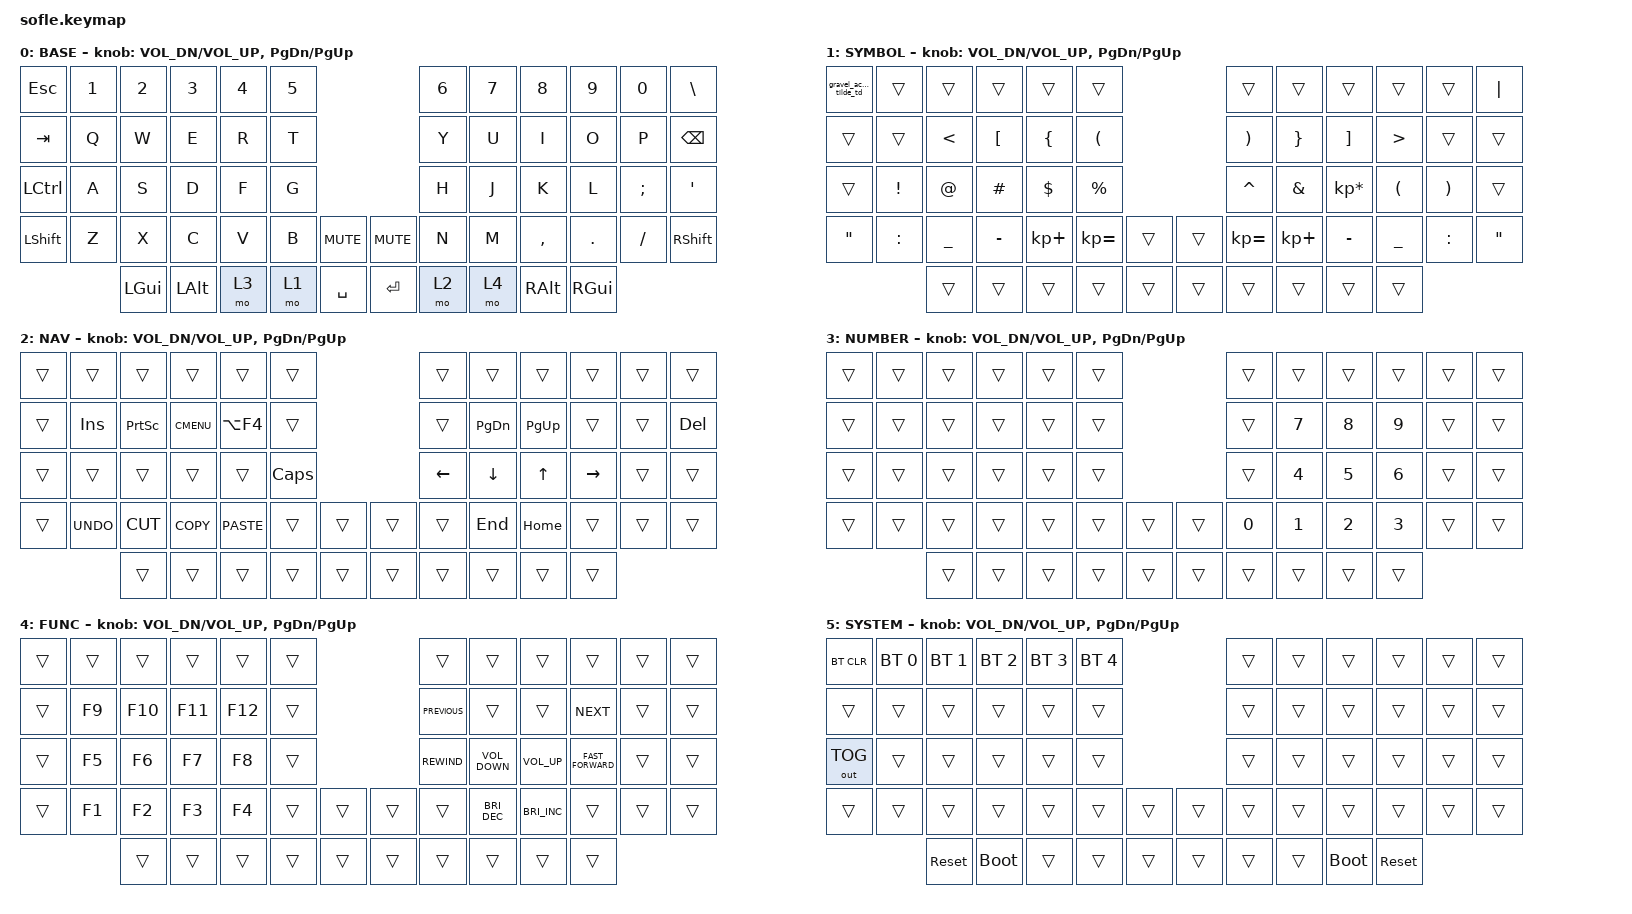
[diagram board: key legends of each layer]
/*
 * Copyright (c) 2020 The ZMK Contributors
 *
 * SPDX-License-Identifier: MIT
 */

#include <behaviors.dtsi>
#include <dt-bindings/zmk/bt.h>
#include <dt-bindings/zmk/keys.h>
#include <dt-bindings/zmk/outputs.h>

/ {
    combos { compatible = "zmk,combos"; };

    behaviors {
        gravel_accent_tilde_td: gravel_accent_tilde_td {
            compatible = "zmk,behavior-tap-dance";
            label = "GRAVEL_ACCENT_TILDE_TD";
            #binding-cells = <0>;
            bindings = <&kp GRAVE>, <&kp TILDE>;
        };
    };

    keymap {
        compatible = "zmk,keymap";

        base_layer {
            display-name = "BASE";
            bindings = <
&kp ESCAPE        &kp N1  &kp N2    &kp N3    &kp N4  &kp N5                            &kp N6  &kp N7  &kp N8     &kp N9    &kp N0         &kp BACKSLASH
&kp TAB           &kp Q   &kp W     &kp E     &kp R   &kp T                             &kp Y   &kp U   &kp I      &kp O     &kp P          &kp BSPC
&kp LEFT_CONTROL  &kp A   &kp S     &kp D     &kp F   &kp G                             &kp H   &kp J   &kp K      &kp L     &kp SEMICOLON  &kp SQT
&kp LSHFT         &kp Z   &kp X     &kp C     &kp V   &kp B   &kp C_MUTE    &kp C_MUTE  &kp N   &kp M   &kp COMMA  &kp DOT   &kp FSLH       &kp RSHFT
                          &kp LGUI  &kp LALT  &mo 3   &mo 1   &kp SPACE     &kp ENTER   &mo 2   &mo 4   &kp RALT   &kp RGUI
            >;

            sensor-bindings =
                <&inc_dec_kp C_VOL_DN C_VOL_UP>,
                <&inc_dec_kp PG_DN PG_UP>;

            label = "BASE";
        };

        symbol_layer {
            display-name = "SYMBOL";
            bindings = <
&gravel_accent_tilde_td  &trans     &trans          &trans            &trans          &trans                                  &trans                 &trans           &trans             &trans            &trans     &kp PIPE
&trans                   &trans     &kp LESS_THAN   &kp LEFT_BRACKET  &kp LEFT_BRACE  &kp LEFT_PARENTHESIS                    &kp RIGHT_PARENTHESIS  &kp RIGHT_BRACE  &kp RIGHT_BRACKET  &kp GREATER_THAN  &trans     &trans
&trans                   &kp EXCL   &kp AT          &kp HASH          &kp DLLR        &kp PRCNT                               &kp CARET              &kp AMPS         &kp KP_MULTIPLY    &kp LPAR          &kp RPAR   &trans
&kp DOUBLE_QUOTES        &kp COLON  &kp UNDERSCORE  &kp MINUS         &kp KP_PLUS     &kp KP_EQUAL          &trans    &trans  &kp KP_EQUAL           &kp KP_PLUS      &kp MINUS          &kp UNDERSCORE    &kp COLON  &kp DOUBLE_QUOTES
                                    &trans          &trans            &trans          &trans                &trans    &trans  &trans                 &trans           &trans             &trans
            >;

            sensor-bindings =
                <&inc_dec_kp C_VOL_DN C_VOL_UP>,
                <&inc_dec_kp PG_DN PG_UP>;

            label = "SYMBOL";
        };

        navigation_layer {
            display-name = "NAV";
            bindings = <
&trans  &trans      &trans     &trans       &trans       &trans                      &trans    &trans         &trans       &trans     &trans  &trans
&trans  &kp INS     &kp PSCRN  &kp K_CMENU  &kp LA(F4)   &trans                      &trans    &kp PAGE_DOWN  &kp PAGE_UP  &trans     &trans  &kp DEL
&trans  &trans      &trans     &trans       &trans       &kp CLCK                    &kp LEFT  &kp DOWN       &kp UP       &kp RIGHT  &trans  &trans
&trans  &kp K_UNDO  &kp K_CUT  &kp K_COPY   &kp K_PASTE  &trans    &trans    &trans  &trans    &kp END        &kp HOME     &trans     &trans  &trans
                    &trans     &trans       &trans       &trans    &trans    &trans  &trans    &trans         &trans       &trans
            >;

            sensor-bindings =
                <&inc_dec_kp C_VOL_DN C_VOL_UP>,
                <&inc_dec_kp PG_DN PG_UP>;

            label = "NAV";
        };

        number_layer {
            display-name = "NUMBER";
            bindings = <
&trans  &trans  &trans  &trans  &trans  &trans                    &trans  &trans  &trans  &trans  &trans  &trans
&trans  &trans  &trans  &trans  &trans  &trans                    &trans  &kp N7  &kp N8  &kp N9  &trans  &trans
&trans  &trans  &trans  &trans  &trans  &trans                    &trans  &kp N4  &kp N5  &kp N6  &trans  &trans
&trans  &trans  &trans  &trans  &trans  &trans  &trans    &trans  &kp N0  &kp N1  &kp N2  &kp N3  &trans  &trans
                &trans  &trans  &trans  &trans  &trans    &trans  &trans  &trans  &trans  &trans
            >;

            sensor-bindings =
                <&inc_dec_kp C_VOL_DN C_VOL_UP>,
                <&inc_dec_kp PG_DN PG_UP>;

            label = "NUMBER";
        };

        function_layer {
            display-name = "FUNC";
            bindings = <
&trans  &trans  &trans   &trans   &trans   &trans                    &trans          &trans                &trans                &trans              &trans  &trans
&trans  &kp F9  &kp F10  &kp F11  &kp F12  &trans                    &kp K_PREVIOUS  &trans                &trans                &kp K_NEXT          &trans  &trans
&trans  &kp F5  &kp F6   &kp F7   &kp F8   &trans                    &kp C_REWIND    &kp K_VOLUME_DOWN     &kp K_VOLUME_UP       &kp C_FAST_FORWARD  &trans  &trans
&trans  &kp F1  &kp F2   &kp F3   &kp F4   &trans  &trans    &trans  &trans          &kp C_BRIGHTNESS_DEC  &kp C_BRIGHTNESS_INC  &trans              &trans  &trans
                &trans   &trans   &trans   &trans  &trans    &trans  &trans          &trans                &trans                &trans
            >;

            sensor-bindings =
                <&inc_dec_kp C_VOL_DN C_VOL_UP>,
                <&inc_dec_kp PG_DN PG_UP>;

            label = "FUNC";
        };

        system_layer {
            display-name = "SYSTEM";
            bindings = <
&bt BT_CLR    &bt BT_SEL 0  &bt BT_SEL 1  &bt BT_SEL 2  &bt BT_SEL 3  &bt BT_SEL 4                    &trans  &trans  &trans       &trans      &trans  &trans
&trans        &trans        &trans        &trans        &trans        &trans                          &trans  &trans  &trans       &trans      &trans  &trans
&out OUT_TOG  &trans        &trans        &trans        &trans        &trans                          &trans  &trans  &trans       &trans      &trans  &trans
&trans        &trans        &trans        &trans        &trans        &trans        &trans    &trans  &trans  &trans  &trans       &trans      &trans  &trans
                            &sys_reset    &bootloader   &trans        &trans        &trans    &trans  &trans  &trans  &bootloader  &sys_reset
            >;

            sensor-bindings =
                <&inc_dec_kp C_VOL_DN C_VOL_UP>,
                <&inc_dec_kp PG_DN PG_UP>;

            label = "SYSTEM";
        };
    };

    conditional_layers {
        compatible = "zmk,conditional-layers";

        system_layer {
            if-layers = <1 2>;
            then-layer = <5>;
        };
    };
};
